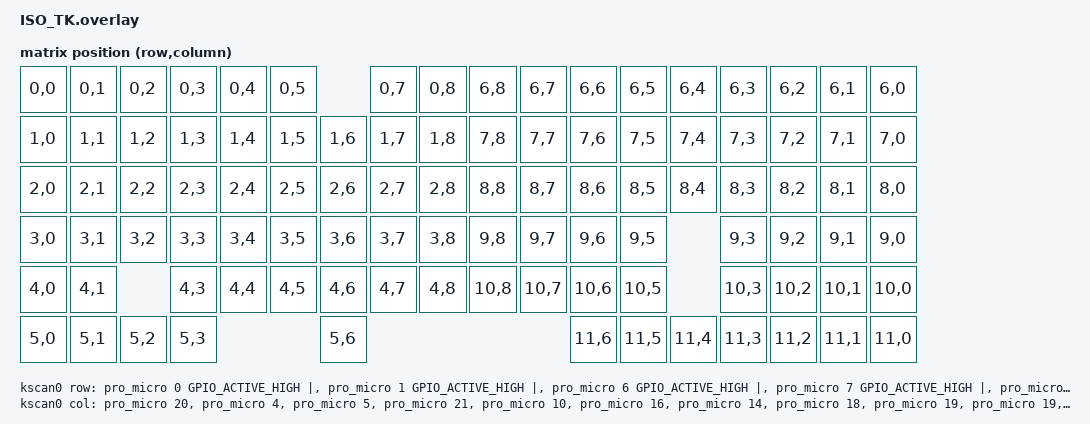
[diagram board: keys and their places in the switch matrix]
#include <dt-bindings/zmk/matrix_transform.h>
#include <physical_layouts.dtsi>

/ {
    chosen {
        zmk,kscan = &default_kscan;
        zmk,matrix_transform = &default_transform;
        zmk,physical_layout = &default_layout
    };

    kscan0: kscan {
        compatible = "zmk,kscan-gpio-matrix";
        label = "default_kscan";
        diode-direction = "col2row";
        wakeup-source;
        
        //18 columns as its a duplex
        col-gpios 
            =   <&pro_micro 20 GPIO_ACTIVE_HIGH>, 
                <&pro_micro 4  GPIO_ACTIVE_HIGH>,
                <&pro_micro 5  GPIO_ACTIVE_HIGH>,
                <&pro_micro 21 GPIO_ACTIVE_HIGH>,
                <&pro_micro 10 GPIO_ACTIVE_HIGH>,
                <&pro_micro 16 GPIO_ACTIVE_HIGH>,
                <&pro_micro 14 GPIO_ACTIVE_HIGH>,
                <&pro_micro 18 GPIO_ACTIVE_HIGH>,
                <&pro_micro 19 GPIO_ACTIVE_HIGH>,
                <&pro_micro 19 GPIO_ACTIVE_HIGH>,
                <&pro_micro 18 GPIO_ACTIVE_HIGH>, 
                <&pro_micro 14 GPIO_ACTIVE_HIGH>,
                <&pro_micro 16 GPIO_ACTIVE_HIGH>,
                <&pro_micro 10 GPIO_ACTIVE_HIGH>,
                <&pro_micro 21 GPIO_ACTIVE_HIGH>,
                <&pro_micro 5  GPIO_ACTIVE_HIGH>,
                <&pro_micro 4  GPIO_ACTIVE_HIGH>,
                <&pro_micro 20 GPIO_ACTIVE_HIGH>;

        //6 rows                                                                
        row-gpios 
            =   <&pro_micro 0  GPIO_ACTIVE_HIGH | GPIO_PULL_DOWN>, 
                <&pro_micro 1  GPIO_ACTIVE_HIGH | GPIO_PULL_DOWN>,  
                <&pro_micro 6  GPIO_ACTIVE_HIGH | GPIO_PULL_DOWN>,  
                <&pro_micro 7  GPIO_ACTIVE_HIGH | GPIO_PULL_DOWN>,   
                <&pro_micro 8  GPIO_ACTIVE_HIGH | GPIO_PULL_DOWN>,  
                <&pro_micro 9  GPIO_ACTIVE_HIGH | GPIO_PULL_DOWN>;
    };


   default_transform: matrix_transform {
    compatible = "zmk,matrix-transform";
        rows = <12>;
        columns = <9>;
        // G1 ESC F1 F2 F3   ...
        // G2 `   1  2  3    ...
        // G3 Tab  Q  W  E   ...
        // G4 Caps  A  S  D  ...
        // G5 Shift  Z  X  C ...
        // G6 Ctrl Alt       ...
        map = <
            RC(0,0)  RC(0,1)  RC(0,2)  RC(0,3)  RC(0,4)  RC(0,5)           RC(0,7)  RC(0,8)  RC(6,8)  RC(6,7)  RC(6,6)  RC(6,5)  RC(6,4)  RC(6,3)  RC(6,2)  RC(6,1)  RC(6,0)
            RC(1,0)  RC(1,1)  RC(1,2)  RC(1,3)  RC(1,4)  RC(1,5)  RC(1,6)  RC(1,7)  RC(1,8)  RC(7,8)  RC(7,7)  RC(7,6)  RC(7,5)  RC(7,4)  RC(7,3)  RC(7,2)  RC(7,1)  RC(7,0)
            RC(2,0)  RC(2,1)  RC(2,2)  RC(2,3)  RC(2,4)  RC(2,5)  RC(2,6)  RC(2,7)  RC(2,8)  RC(8,8)  RC(8,7)  RC(8,6)  RC(8,5)  RC(8,4)  RC(8,3)  RC(8,2)  RC(8,1)  RC(8,0)
            RC(3,0)  RC(3,1)  RC(3,2)  RC(3,3)  RC(3,4)  RC(3,5)  RC(3,6)  RC(3,7)  RC(3,8)  RC(9,8)  RC(9,7)  RC(9,6)  RC(9,5)           RC(9,3)  RC(9,2)  RC(9,1)  RC(9,0)
            RC(4,0)  RC(4,1)           RC(4,3)  RC(4,4)  RC(4,5)  RC(4,6)  RC(4,7)  RC(4,8)  RC(10,8) RC(10,7) RC(10,6) RC(10,5)          RC(10,3) RC(10,2) RC(10,1) RC(10,0)
            RC(5,0)  RC(5,1)  RC(5,2)  RC(5,3)                    RC(5,6)                                      RC(11,6) RC(11,5) RC(11,4) RC(11,3) RC(11,2) RC(11,1) RC(11,0)
            >;
    };

    default_layout: default_layout {
        compatible = "zmk,physical-layout";
        display-name = "Default Layout";
        transform = <&default_transform>;
        kscan = <&kscan0>;
    };
};
    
